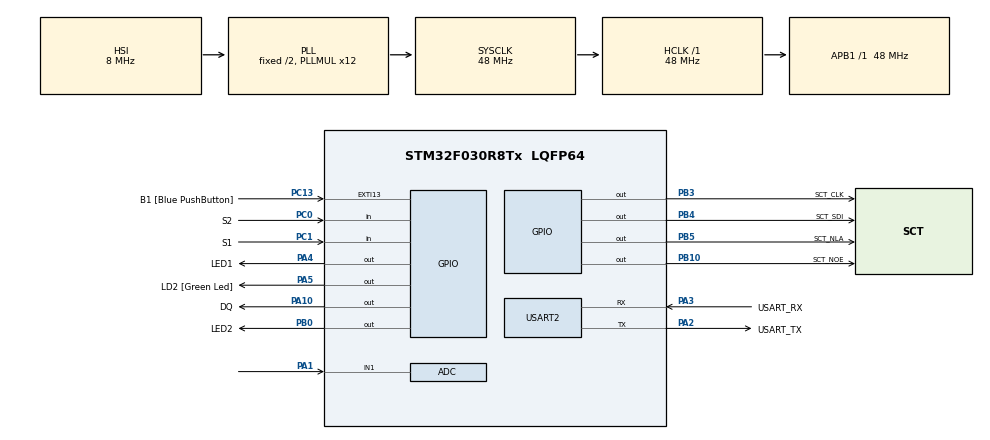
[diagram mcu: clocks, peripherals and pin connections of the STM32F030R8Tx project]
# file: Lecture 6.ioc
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ADC.ContinuousConvMode=ENABLE
ADC.Overrun=ADC_OVR_DATA_OVERWRITTEN
ADC.Resolution=ADC_RESOLUTION_10B
Mcu.Family=STM32F0
Mcu.Name=STM32F030R8Tx
Mcu.Package=LQFP64
PA1.Mode=IN1
PA1.Signal=ADC_IN1
PA10.GPIO_Label=DQ
PA10.GPIO_ModeDefaultOutputPP=GPIO_MODE_OUTPUT_OD
PA10.GPIO_PuPd=GPIO_NOPULL
PA10.PinState=GPIO_PIN_SET
PA10.Signal=GPIO_Output
PA13.GPIO_Label=TMS
PA13.Mode=Serial_Wire
PA13.Signal=SYS_SWDIO
PA14.GPIO_Label=TCK
PA14.Mode=Serial_Wire
PA14.Signal=SYS_SWCLK
PA2.GPIO_Label=USART_TX
PA2.GPIO_Mode=GPIO_MODE_AF_PP
PA2.GPIO_PuPd=GPIO_NOPULL
PA2.GPIO_Speed=GPIO_SPEED_FREQ_LOW
PA2.Mode=Asynchronous
PA2.Signal=USART2_TX
PA3.GPIO_Label=USART_RX
PA3.GPIO_Mode=GPIO_MODE_AF_PP
PA3.GPIO_PuPd=GPIO_NOPULL
PA3.GPIO_Speed=GPIO_SPEED_FREQ_LOW
PA3.Mode=Asynchronous
PA3.Signal=USART2_RX
PA4.GPIO_Label=LED1
PA4.GPIO_PuPd=GPIO_NOPULL
PA4.Signal=GPIO_Output
PA5.GPIO_Label=LD2 [Green Led]
PA5.GPIO_Mode=GPIO_MODE_OUTPUT_PP
PA5.GPIO_PuPd=GPIO_NOPULL
PA5.GPIO_Speed=GPIO_SPEED_FREQ_LOW
PA5.Signal=GPIO_Output
PB0.GPIO_Label=LED2
PB0.GPIO_PuPd=GPIO_NOPULL
PB0.Signal=GPIO_Output
PB10.GPIO_Label=SCT_NOE
PB10.Signal=GPIO_Output
PB3.GPIO_Label=SCT_CLK
PB3.Signal=GPIO_Output
PB4.GPIO_Label=SCT_SDI
PB4.Signal=GPIO_Output
PB5.GPIO_Label=SCT_NLA
PB5.Signal=GPIO_Output
PC0.GPIO_Label=S2
PC0.GPIO_PuPd=GPIO_PULLUP
PC0.Signal=GPIO_Input
PC1.GPIO_Label=S1
PC1.GPIO_PuPd=GPIO_PULLUP
PC1.Signal=GPIO_Input
PC13.GPIO_Label=B1 [Blue PushButton]
PC13.GPIO_ModeDefaultEXTI=GPIO_MODE_IT_FALLING
PC13.Signal=GPXTI13
PC14-OSC32_IN.Mode=LSE-External-Oscillator
PC14-OSC32_IN.Signal=RCC_OSC32_IN
PC15-OSC32_OUT.Mode=LSE-External-Oscillator
PC15-OSC32_OUT.Signal=RCC_OSC32_OUT
PF0-OSC_IN.Mode=HSE-External-Clock-Source
PF0-OSC_IN.Signal=RCC_OSC_IN
PF1-OSC_OUT.Signal=RCC_OSC_OUT
ProjectManager.HeapSize=0x200
ProjectManager.StackSize=0x400
ProjectManager.TargetToolchain=STM32CubeIDE
RCC.AHBFreq_Value=48000000
RCC.APB1Freq_Value=48000000
RCC.APB1TimFreq_Value=48000000
RCC.HCLKFreq_Value=48000000
RCC.PLLMUL=RCC_PLL_MUL12
RCC.SYSCLKFreq_VALUE=48000000
RCC.SYSCLKSource=RCC_SYSCLKSOURCE_PLLCLK
USART2.VirtualMode-Asynchronous=VM_ASYNC
board=NUCLEO-F030R8

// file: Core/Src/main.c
/* USER CODE BEGIN Header */
/**
  ******************************************************************************
  * @file           : main.c
  * @brief          : Main program body
  ******************************************************************************
  * @attention
  *
  * Copyright (c) 2024 STMicroelectronics.
  * All rights reserved.
  *
  * This software is licensed under terms that can be found in the LICENSE file
  * in the root directory of this software component.
  * If no LICENSE file comes with this software, it is provided AS-IS.
  *
  ******************************************************************************
  */
/* USER CODE END Header */
#include "main.h"

/* USER CODE BEGIN Includes */
#include "1wire.h"
#include "sct.h"
/* USER CODE END Includes */

ADC_HandleTypeDef hadc;

UART_HandleTypeDef huart2;

/* USER CODE BEGIN PV */
int16_t data[] = {
#include "data.dlm"
};
/* USER CODE END PV */

void SystemClock_Config(void);
static void MX_GPIO_Init(void);
static void MX_USART2_UART_Init(void);
static void MX_ADC_Init(void);

/* USER CODE BEGIN 0 */

static void NTC() {
	static uint32_t tick;
	static uint32_t last_tick;
	tick = HAL_GetTick();

	if (tick - last_tick > CONVERT_T_DELAY) {
		uint32_t result;
		result = HAL_ADC_GetValue(&hadc);
		sct_value(data[result], 0);
		//HAL_Delay(100);
		HAL_GPIO_WritePin(LED2_GPIO_Port, LED2_Pin, 0);
		HAL_GPIO_WritePin(LED1_GPIO_Port, LED1_Pin, 1);
		last_tick = tick;

	}
}

static void DS18B20() {
	static uint32_t tick;
	static uint32_t last_tick;
	tick = HAL_GetTick();

		if (tick - last_tick > CONVERT_T_DELAY) {
			OWConvertAll();
			//HAL_Delay(CONVERT_T_DELAY);

			int16_t value;
			if(OWReadTemperature(&value)) {
				sct_value(value / 10, 0);
			}
			HAL_GPIO_WritePin(LED1_GPIO_Port, LED1_Pin, 0);
			HAL_GPIO_WritePin(LED2_GPIO_Port, LED2_Pin, 1);
			last_tick = tick;

	}

}
/* USER CODE END 0 */

int main(void)
{

  /* MCU Configuration--------------------------------------------------------*/

  /* Reset of all peripherals, Initializes the Flash interface and the Systick. */
  HAL_Init();

  /* Configure the system clock */
  SystemClock_Config();

  /* Initialize all configured peripherals */
  MX_GPIO_Init();
  MX_USART2_UART_Init();
  MX_ADC_Init();
  /* USER CODE BEGIN 2 */
  OWInit();
  sct_init();

  HAL_ADCEx_Calibration_Start(&hadc);
  HAL_ADC_Start(&hadc);

  /* USER CODE END 2 */

  /* Infinite loop */
  /* USER CODE BEGIN WHILE */
  while (1)
  {
	  static uint8_t state;

	  if(HAL_GPIO_ReadPin(S2_GPIO_Port, S2_Pin) == 0) {
		  state = 1;
	  }
	  else if (HAL_GPIO_ReadPin(S1_GPIO_Port, S1_Pin) == 0) {
		  state = 2;
	  }

	  if (state == 1) {
		  NTC();
	  }
	  else if (state == 2) {
		  DS18B20();
	  }

	  /* USER CODE END WHILE */

  }
}

void SystemClock_Config(void)
{
  RCC_OscInitTypeDef RCC_OscInitStruct = {0};
  RCC_ClkInitTypeDef RCC_ClkInitStruct = {0};

  /** Initializes the RCC Oscillators according to the specified parameters
  * in the RCC_OscInitTypeDef structure.
  */
  RCC_OscInitStruct.OscillatorType = RCC_OSCILLATORTYPE_HSI|RCC_OSCILLATORTYPE_HSI14;
  RCC_OscInitStruct.HSIState = RCC_HSI_ON;
  RCC_OscInitStruct.HSI14State = RCC_HSI14_ON;
  RCC_OscInitStruct.HSICalibrationValue = RCC_HSICALIBRATION_DEFAULT;
  RCC_OscInitStruct.HSI14CalibrationValue = 16;
  RCC_OscInitStruct.PLL.PLLState = RCC_PLL_ON;
  RCC_OscInitStruct.PLL.PLLSource = RCC_PLLSOURCE_HSI;
  RCC_OscInitStruct.PLL.PLLMUL = RCC_PLL_MUL12;
  RCC_OscInitStruct.PLL.PREDIV = RCC_PREDIV_DIV1;
  if (HAL_RCC_OscConfig(&RCC_OscInitStruct) != HAL_OK)
  {
    Error_Handler();
  }

  /** Initializes the CPU, AHB and APB buses clocks
  */
  RCC_ClkInitStruct.ClockType = RCC_CLOCKTYPE_HCLK|RCC_CLOCKTYPE_SYSCLK
                              |RCC_CLOCKTYPE_PCLK1;
  RCC_ClkInitStruct.SYSCLKSource = RCC_SYSCLKSOURCE_PLLCLK;
  RCC_ClkInitStruct.AHBCLKDivider = RCC_SYSCLK_DIV1;
  RCC_ClkInitStruct.APB1CLKDivider = RCC_HCLK_DIV1;

  if (HAL_RCC_ClockConfig(&RCC_ClkInitStruct, FLASH_LATENCY_1) != HAL_OK)
  {
    Error_Handler();
  }
}

static void MX_ADC_Init(void)
{

  ADC_ChannelConfTypeDef sConfig = {0};

  /** Configure the global features of the ADC (Clock, Resolution, Data Alignment and number of conversion)
  */
  hadc.Instance = ADC1;
  hadc.Init.ClockPrescaler = ADC_CLOCK_ASYNC_DIV1;
  hadc.Init.Resolution = ADC_RESOLUTION_10B;
  hadc.Init.DataAlign = ADC_DATAALIGN_RIGHT;
  hadc.Init.ScanConvMode = ADC_SCAN_DIRECTION_FORWARD;
  hadc.Init.EOCSelection = ADC_EOC_SINGLE_CONV;
  hadc.Init.LowPowerAutoWait = DISABLE;
  hadc.Init.LowPowerAutoPowerOff = DISABLE;
  hadc.Init.ContinuousConvMode = ENABLE;
  hadc.Init.DiscontinuousConvMode = DISABLE;
  hadc.Init.ExternalTrigConv = ADC_SOFTWARE_START;
  hadc.Init.ExternalTrigConvEdge = ADC_EXTERNALTRIGCONVEDGE_NONE;
  hadc.Init.DMAContinuousRequests = DISABLE;
  hadc.Init.Overrun = ADC_OVR_DATA_OVERWRITTEN;
  if (HAL_ADC_Init(&hadc) != HAL_OK)
  {
    Error_Handler();
  }

  /** Configure for the selected ADC regular channel to be converted.
  */
  sConfig.Channel = ADC_CHANNEL_1;
  sConfig.Rank = ADC_RANK_CHANNEL_NUMBER;
  sConfig.SamplingTime = ADC_SAMPLETIME_1CYCLE_5;
  if (HAL_ADC_ConfigChannel(&hadc, &sConfig) != HAL_OK)
  {
    Error_Handler();
  }

}

static void MX_USART2_UART_Init(void)
{

  huart2.Instance = USART2;
  huart2.Init.BaudRate = 38400;
  huart2.Init.WordLength = UART_WORDLENGTH_8B;
  huart2.Init.StopBits = UART_STOPBITS_1;
  huart2.Init.Parity = UART_PARITY_NONE;
  huart2.Init.Mode = UART_MODE_TX_RX;
  huart2.Init.HwFlowCtl = UART_HWCONTROL_NONE;
  huart2.Init.OverSampling = UART_OVERSAMPLING_16;
  huart2.Init.OneBitSampling = UART_ONE_BIT_SAMPLE_DISABLE;
  huart2.AdvancedInit.AdvFeatureInit = UART_ADVFEATURE_NO_INIT;
  if (HAL_UART_Init(&huart2) != HAL_OK)
  {
    Error_Handler();
  }

}

static void MX_GPIO_Init(void)
{
  GPIO_InitTypeDef GPIO_InitStruct = {0};

  /* GPIO Ports Clock Enable */
  __HAL_RCC_GPIOC_CLK_ENABLE();
  __HAL_RCC_GPIOF_CLK_ENABLE();
  __HAL_RCC_GPIOA_CLK_ENABLE();
  __HAL_RCC_GPIOB_CLK_ENABLE();

  /*Configure GPIO pin Output Level */
  HAL_GPIO_WritePin(GPIOA, LED1_Pin|LD2_Pin, GPIO_PIN_RESET);

  /*Configure GPIO pin Output Level */
  HAL_GPIO_WritePin(GPIOB, LED2_Pin|SCT_NOE_Pin|SCT_CLK_Pin|SCT_SDI_Pin
                          |SCT_NLA_Pin, GPIO_PIN_RESET);

  /*Configure GPIO pin Output Level */
  HAL_GPIO_WritePin(DQ_GPIO_Port, DQ_Pin, GPIO_PIN_SET);

  /*Configure GPIO pin : B1_Pin */
  GPIO_InitStruct.Pin = B1_Pin;
  GPIO_InitStruct.Mode = GPIO_MODE_IT_FALLING;
  GPIO_InitStruct.Pull = GPIO_NOPULL;
  HAL_GPIO_Init(B1_GPIO_Port, &GPIO_InitStruct);

  /*Configure GPIO pins : S2_Pin S1_Pin */
  GPIO_InitStruct.Pin = S2_Pin|S1_Pin;
  GPIO_InitStruct.Mode = GPIO_MODE_INPUT;
  GPIO_InitStruct.Pull = GPIO_PULLUP;
  HAL_GPIO_Init(GPIOC, &GPIO_InitStruct);

  /*Configure GPIO pins : LED1_Pin LD2_Pin */
  GPIO_InitStruct.Pin = LED1_Pin|LD2_Pin;
  GPIO_InitStruct.Mode = GPIO_MODE_OUTPUT_PP;
  GPIO_InitStruct.Pull = GPIO_NOPULL;
  GPIO_InitStruct.Speed = GPIO_SPEED_FREQ_LOW;
  HAL_GPIO_Init(GPIOA, &GPIO_InitStruct);

  /*Configure GPIO pins : LED2_Pin SCT_NOE_Pin SCT_CLK_Pin SCT_SDI_Pin
                           SCT_NLA_Pin */
  GPIO_InitStruct.Pin = LED2_Pin|SCT_NOE_Pin|SCT_CLK_Pin|SCT_SDI_Pin
                          |SCT_NLA_Pin;
  GPIO_InitStruct.Mode = GPIO_MODE_OUTPUT_PP;
  GPIO_InitStruct.Pull = GPIO_NOPULL;
  GPIO_InitStruct.Speed = GPIO_SPEED_FREQ_LOW;
  HAL_GPIO_Init(GPIOB, &GPIO_InitStruct);

  /*Configure GPIO pin : DQ_Pin */
  GPIO_InitStruct.Pin = DQ_Pin;
  GPIO_InitStruct.Mode = GPIO_MODE_OUTPUT_OD;
  GPIO_InitStruct.Pull = GPIO_NOPULL;
  GPIO_InitStruct.Speed = GPIO_SPEED_FREQ_LOW;
  HAL_GPIO_Init(DQ_GPIO_Port, &GPIO_InitStruct);

}

void Error_Handler(void)
{
  __disable_irq();
  while (1)
  {
  }
}
